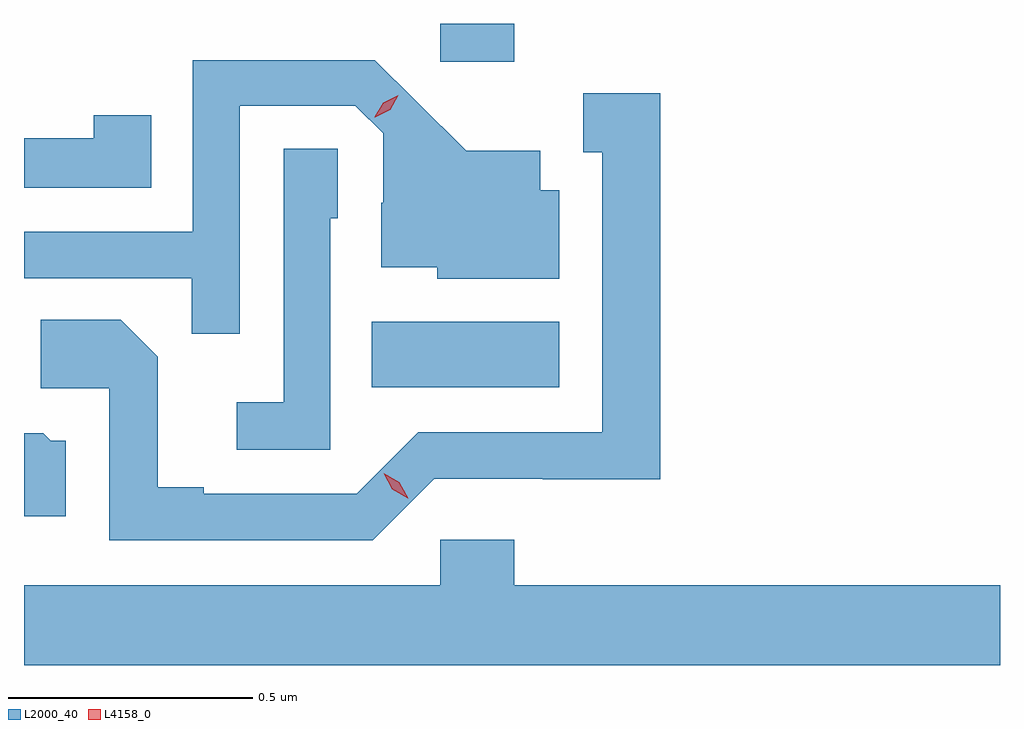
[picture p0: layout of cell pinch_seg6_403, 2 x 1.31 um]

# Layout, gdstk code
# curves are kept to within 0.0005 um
import gdstk
lib = gdstk.Library(unit=1e-6, precision=1e-09)
def R(c, l, rs):  # rectangles x0, y0, x1, y1
    for r in rs: c.add(gdstk.rectangle(r[:2], r[2:], *l))
def P(c, l, *ps):  # polygons
    for p in ps: c.add(gdstk.Polygon(p, *l))
L2000_40 = (2000, 40)
L4158_0 = (4158, 0)

pinch_seg6_403 = lib.new_cell('pinch_seg6_403')
R(pinch_seg6_403, L2000_40, [(671.5,934.586,671.884,934.72), (671.64,935.253,671.792,935.331)])
P(pinch_seg6_403, L2000_40, [(671.229,935.163),(671.466,935.163),(671.523,935.106),(671.523,934.964),(671.519,934.964),(671.519,934.832),(671.634,934.832),(671.634,934.808),(671.884,934.808),(671.884,934.99),(671.845,934.99),(671.845,935.071),(671.693,935.071),(671.506,935.256),(671.133,935.256),(671.133,934.905),(670.787,934.905),(670.787,934.809),(671.131,934.809),(671.131,934.696),(671.229,934.696)],
  [(671.628,934.398),(671.85,934.398),(671.85,934.397),(672.091,934.397),(672.091,935.188),(671.933,935.188),(671.933,935.067),(671.972,935.067),(671.972,934.494),(671.595,934.494),(671.469,934.368),(671.155,934.368),(671.155,934.381),(671.061,934.381),(671.061,934.648),(670.985,934.724),(670.821,934.724),(670.821,934.584),(670.962,934.584),(670.962,934.272),(671.502,934.272)],
  [(671.048,935.143),(670.93,935.143),(670.93,935.096),(670.787,935.096),(670.787,934.995),(671.048,934.995)],
  [(671.415,934.932),(671.43,934.932),(671.43,935.075),(671.319,935.075),(671.319,934.555),(671.223,934.555),(671.223,934.458),(671.415,934.458)],
  [(670.873,934.476),(670.842,934.476),(670.826,934.492),(670.787,934.492),(670.787,934.322),(670.873,934.322)],
  [(672.787,934.18),(671.792,934.18),(671.792,934.273),(671.64,934.273),(671.64,934.18),(670.787,934.18),(670.787,934.016),(672.787,934.016)])
P(pinch_seg6_403, L4158_0, [(671.573,934.358),(671.542,934.377),(671.524,934.41),(671.524,934.41),(671.524,934.41),(671.556,934.391),(671.574,934.358),(671.574,934.358)],
  [(671.506,935.139),(671.506,935.14),(671.523,935.169),(671.554,935.184),(671.554,935.184),(671.554,935.184),(671.537,935.155),(671.507,935.139)])

lib.write_gds('pinch_seg6_403.gds')
